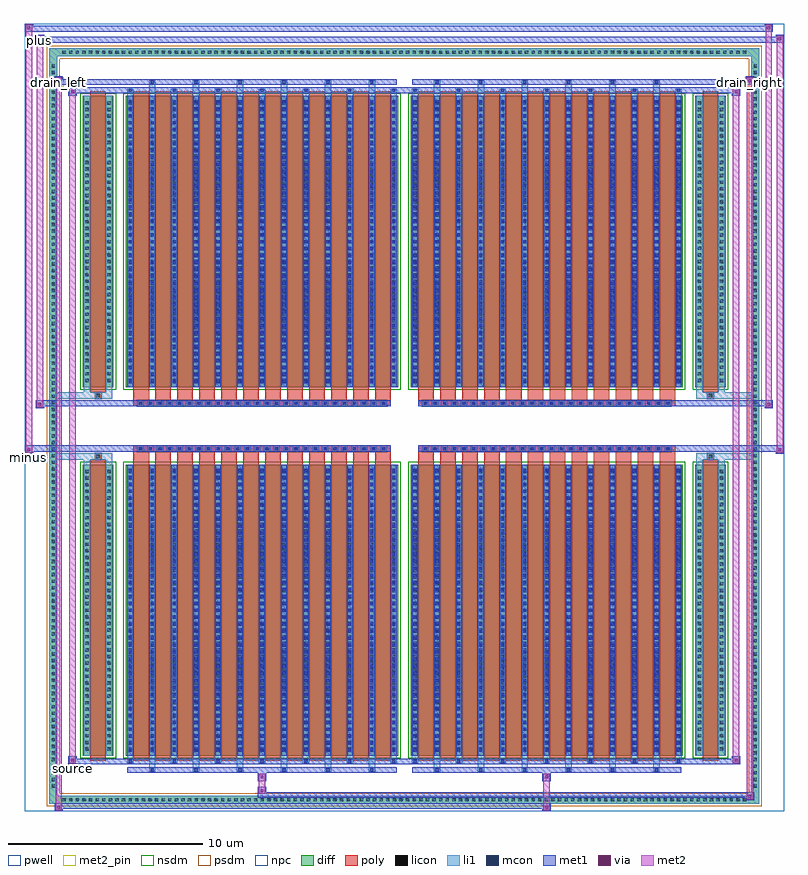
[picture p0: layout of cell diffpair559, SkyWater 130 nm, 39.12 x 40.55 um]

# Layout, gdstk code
import gdstk
lib = gdstk.Library(unit=1e-6, precision=5e-09)
def R(c, l, rs):  # rectangles x0, y0, x1, y1
    for r in rs: c.add(gdstk.rectangle(r[:2], r[2:], *l))
def A(c, l, x, y, w, h, nx, ny, dx, dy):  # array of equal rectangles
    R(c, l, [(x+i*dx, y+j*dy, x+i*dx+w, y+j*dy+h) for i in range(nx) for j in range(ny)])
def P(c, l, *ps):  # polygons
    for p in ps: c.add(gdstk.Polygon(p, *l))
pwell = (64, 44)
diff = (65, 20)
poly = (66, 20)
licon = (66, 44)
li1 = (67, 20)
mcon = (67, 44)
met1 = (68, 20)
via = (68, 44)
met2_pin = (69, 16)
met2 = (69, 20)
nsdm = (93, 44)
psdm = (94, 20)
npc = (95, 20)

diffpair559 = lib.new_cell('diffpair559')
R(diffpair559, pwell, [(-19.54,-19.84,19.54,20.71), (-16.86,-18.03,-0.01,-0.805), (0.01,-18.03,16.86,-0.805), (-16.86,0.805,-0.01,18.03), (0.01,0.805,16.86,18.03)])
A(diffpair559, diff, -17.715, -19.44, 0.41, 0.41, 104, 2, 0.34, 38.47)
A(diffpair559, diff, -18.27, -18.735, 0.41, 0.41, 1, 110, 0, 0.34)
A(diffpair559, diff, 17.86, -18.735, 0.41, 0.41, 1, 110, 0, 0.34)
R(diffpair559, diff, [(-17.715,-19.44,17.715,-19.03), (-18.27,-18.735,-17.86,18.735), (17.86,-18.735,18.27,18.735), (-16.55,-16.985,-14.97,-1.985), (-14.33,-16.985,-0.32,-1.985), (0.32,-16.985,14.33,-1.985), (14.97,-16.985,16.55,-1.985), (-16.55,1.985,-14.97,16.985), (-14.33,1.985,-0.32,16.985), (0.32,1.985,14.33,16.985), (14.97,1.985,16.55,16.985), (-17.715,19.03,17.715,19.44)])
P(diffpair559, diff, [(18.27,19.44),(-18.27,19.44),(-18.27,-19.03),(-17.86,-19.03),(-17.86,19.03),(17.86,19.03),(17.86,-19.03),(-17.86,-19.03),(-18.27,-19.03),(-18.27,-19.44),(18.27,-19.44)])
A(diffpair559, poly, -13.94, -17.235, 0.8, 15.5, 12, 2, 1.13, 18.97)
A(diffpair559, poly, 0.71, -17.235, 0.8, 15.5, 12, 2, 1.13, 18.97)
A(diffpair559, poly, -13.94, -1.735, 0.8, 0.4, 12, 2, 1.13, 3.07)
A(diffpair559, poly, 0.71, -1.735, 0.8, 0.4, 12, 2, 1.13, 3.07)
A(diffpair559, poly, -13.74, -1.335, 0.33, 0.33, 26, 2, 0.5, 2.34)
A(diffpair559, poly, 0.91, -1.335, 0.33, 0.33, 26, 2, 0.5, 2.34)
R(diffpair559, poly, [(-16.16,-17.235,-15.36,-1.735), (15.36,-17.235,16.16,-1.735), (-15.925,-1.735,-15.595,-1.405), (-15.925,-1.735,-15.595,-1.405), (15.595,-1.735,15.925,-1.405), (15.595,-1.735,15.925,-1.405), (-13.94,-1.335,-0.71,-1.005), (0.71,-1.335,13.94,-1.005), (-13.94,1.005,-0.71,1.335), (0.71,1.005,13.94,1.335), (-15.925,1.405,-15.595,1.735), (-15.925,1.405,-15.595,1.735), (15.595,1.405,15.925,1.735), (15.595,1.405,15.925,1.735), (-16.16,1.735,-15.36,17.235), (15.36,1.735,16.16,17.235)])
A(diffpair559, licon, -17.595, -19.32, 0.17, 0.17, 104, 2, 0.34, 38.47)
A(diffpair559, licon, -18.15, -18.615, 0.17, 0.17, 1, 110, 0, 0.34)
A(diffpair559, licon, 17.98, -18.615, 0.17, 0.17, 1, 110, 0, 0.34)
A(diffpair559, licon, -16.41, -16.71, 0.17, 0.17, 1, 43, 0, 0.34)
A(diffpair559, licon, -15.28, -16.71, 0.17, 0.17, 1, 43, 0, 0.34)
A(diffpair559, licon, -14.19, -16.71, 0.17, 0.17, 13, 43, 1.13, 0.34)
A(diffpair559, licon, 0.46, -16.71, 0.17, 0.17, 13, 43, 1.13, 0.34)
A(diffpair559, licon, 15.11, -16.71, 0.17, 0.17, 1, 43, 0, 0.34)
A(diffpair559, licon, 16.24, -16.71, 0.17, 0.17, 1, 43, 0, 0.34)
A(diffpair559, licon, -13.66, -1.255, 0.17, 0.17, 26, 2, 0.5, 2.34)
A(diffpair559, licon, 0.99, -1.255, 0.17, 0.17, 26, 2, 0.5, 2.34)
A(diffpair559, licon, -16.41, 2.26, 0.17, 0.17, 1, 43, 0, 0.34)
A(diffpair559, licon, -15.28, 2.26, 0.17, 0.17, 1, 43, 0, 0.34)
A(diffpair559, licon, -14.19, 2.26, 0.17, 0.17, 13, 43, 1.13, 0.34)
A(diffpair559, licon, 0.46, 2.26, 0.17, 0.17, 13, 43, 1.13, 0.34)
A(diffpair559, licon, 15.11, 2.26, 0.17, 0.17, 1, 43, 0, 0.34)
A(diffpair559, licon, 16.24, 2.26, 0.17, 0.17, 1, 43, 0, 0.34)
R(diffpair559, licon, [(-15.845,-1.655,-15.675,-1.485), (15.675,-1.655,15.845,-1.485), (-15.845,1.485,-15.675,1.655), (15.675,1.485,15.845,1.655)])
A(diffpair559, li1, -17.675, -19.4, 0.33, 0.33, 104, 2, 0.34, 38.47)
A(diffpair559, li1, -18.23, -18.695, 0.33, 0.33, 1, 110, 0, 0.34)
A(diffpair559, li1, 17.9, -18.695, 0.33, 0.33, 1, 110, 0, 0.34)
A(diffpair559, li1, -13.14, -17.79, 0.33, 0.805, 6, 2, 2.26, 34.775)
A(diffpair559, li1, -13.06, -17.79, 0.17, 0.17, 6, 2, 2.26, 35.41)
A(diffpair559, li1, 1.51, -17.79, 0.33, 0.805, 6, 2, 2.26, 34.775)
A(diffpair559, li1, 1.59, -17.79, 0.17, 0.17, 6, 2, 2.26, 35.41)
A(diffpair559, li1, -14.27, -17.36, 0.33, 0.375, 7, 2, 2.26, 34.345)
A(diffpair559, li1, -14.19, -17.36, 0.17, 0.17, 7, 2, 2.26, 34.55)
A(diffpair559, li1, 0.38, -17.36, 0.33, 0.375, 7, 2, 2.26, 34.345)
A(diffpair559, li1, 0.46, -17.36, 0.17, 0.17, 7, 2, 2.26, 34.55)
A(diffpair559, li1, -14.27, -16.985, 0.33, 15, 13, 2, 1.13, 18.97)
A(diffpair559, li1, 0.38, -16.985, 0.33, 15, 13, 2, 1.13, 18.97)
A(diffpair559, li1, -16.49, -16.79, 0.33, 0.33, 1, 43, 0, 0.34)
A(diffpair559, li1, -15.36, -16.79, 0.33, 0.33, 1, 43, 0, 0.34)
A(diffpair559, li1, -14.27, -16.79, 0.33, 0.33, 13, 43, 1.13, 0.34)
A(diffpair559, li1, 0.38, -16.79, 0.33, 0.33, 13, 43, 1.13, 0.34)
A(diffpair559, li1, 15.03, -16.79, 0.33, 0.33, 1, 43, 0, 0.34)
A(diffpair559, li1, 16.16, -16.79, 0.33, 0.33, 1, 43, 0, 0.34)
A(diffpair559, li1, -14.19, -16.77, 0.17, 0.17, 13, 41, 1.13, 0.36)
A(diffpair559, li1, -14.19, -16.77, 0.17, 14.57, 13, 2, 1.13, 18.97)
A(diffpair559, li1, 0.46, -16.77, 0.17, 0.17, 13, 41, 1.13, 0.36)
A(diffpair559, li1, 0.46, -16.77, 0.17, 14.57, 13, 2, 1.13, 18.97)
A(diffpair559, li1, -13.74, -1.335, 0.33, 0.33, 26, 2, 0.5, 2.34)
A(diffpair559, li1, 0.91, -1.335, 0.33, 0.33, 26, 2, 0.5, 2.34)
A(diffpair559, li1, -16.49, 2.18, 0.33, 0.33, 1, 43, 0, 0.34)
A(diffpair559, li1, -15.36, 2.18, 0.33, 0.33, 1, 43, 0, 0.34)
A(diffpair559, li1, -14.27, 2.18, 0.33, 0.33, 13, 43, 1.13, 0.34)
A(diffpair559, li1, 0.38, 2.18, 0.33, 0.33, 13, 43, 1.13, 0.34)
A(diffpair559, li1, 15.03, 2.18, 0.33, 0.33, 1, 43, 0, 0.34)
A(diffpair559, li1, 16.16, 2.18, 0.33, 0.33, 1, 43, 0, 0.34)
A(diffpair559, li1, -14.19, 2.2, 0.17, 0.17, 13, 41, 1.13, 0.36)
A(diffpair559, li1, 0.46, 2.2, 0.17, 0.17, 13, 41, 1.13, 0.36)
R(diffpair559, li1, [(-18.27,-19.44,-17.86,-19.03), (-18.27,-19.44,-17.86,-19.03), (-17.86,-19.44,17.86,-19.03), (17.86,-19.44,18.27,-19.03), (17.86,-19.44,18.27,-19.03), (-18.27,-19.03,-17.86,19.03), (17.86,-19.03,18.27,19.03), (-16.49,-16.985,-16.16,-1.985), (-15.36,-16.985,-15.03,-1.985), (15.03,-16.985,15.36,-1.985), (16.16,-16.985,16.49,-1.985), (-16.49,-1.985,-16.16,-1.405), (-15.36,-1.985,-15.03,-1.405), (15.03,-1.985,15.36,-1.405), (16.16,-1.985,16.49,-1.405), (-18.27,-1.735,-15.925,-1.405), (-16.49,-1.735,-15.925,-1.405), (-15.925,-1.735,-15.595,-1.405), (-15.595,-1.735,-15.03,-1.405), (15.03,-1.735,15.595,-1.405), (15.595,-1.735,15.925,-1.405), (15.595,-1.735,18.27,-1.405), (15.925,-1.735,16.49,-1.405), (-18.27,1.405,-15.925,1.735), (-16.49,1.405,-15.925,1.735), (-16.49,1.405,-16.16,1.985), (-15.925,1.405,-15.595,1.735), (-15.595,1.405,-15.03,1.735), (-15.36,1.405,-15.03,1.985), (15.03,1.405,15.595,1.735), (15.03,1.405,15.36,1.985), (15.595,1.405,15.925,1.735), (15.595,1.405,18.27,1.735), (15.925,1.405,16.49,1.735), (16.16,1.405,16.49,1.985), (-16.49,1.985,-16.16,16.985), (-15.36,1.985,-15.03,16.985), (15.03,1.985,15.36,16.985), (16.16,1.985,16.49,16.985), (-18.27,19.03,-17.86,19.44), (-18.27,19.03,-17.86,19.44), (-17.86,19.03,17.86,19.44), (17.86,19.03,18.27,19.44), (17.86,19.03,18.27,19.44)])
A(diffpair559, mcon, -13.06, -17.79, 0.17, 0.17, 6, 2, 2.26, 35.41)
A(diffpair559, mcon, 1.59, -17.79, 0.17, 0.17, 6, 2, 2.26, 35.41)
A(diffpair559, mcon, -14.19, -17.36, 0.17, 0.17, 7, 2, 2.26, 34.55)
A(diffpair559, mcon, 0.46, -17.36, 0.17, 0.17, 7, 2, 2.26, 34.55)
A(diffpair559, mcon, -14.19, -16.77, 0.17, 0.17, 13, 41, 1.13, 0.36)
A(diffpair559, mcon, 0.46, -16.77, 0.17, 0.17, 13, 41, 1.13, 0.36)
A(diffpair559, mcon, -13.66, -1.255, 0.17, 0.17, 26, 2, 0.5, 2.34)
A(diffpair559, mcon, 0.99, -1.255, 0.17, 0.17, 26, 2, 0.5, 2.34)
A(diffpair559, mcon, -14.19, 2.2, 0.17, 0.17, 13, 41, 1.13, 0.36)
A(diffpair559, mcon, 0.46, 2.2, 0.17, 0.17, 13, 41, 1.13, 0.36)
A(diffpair559, met1, -13.12, -17.85, 0.29, 0.29, 6, 2, 2.26, 35.41)
A(diffpair559, met1, 1.53, -17.85, 0.29, 0.29, 6, 2, 2.26, 35.41)
A(diffpair559, met1, -14.25, -17.42, 0.29, 0.29, 7, 2, 2.26, 34.55)
A(diffpair559, met1, 0.4, -17.42, 0.29, 0.29, 7, 2, 2.26, 34.55)
A(diffpair559, met1, -14.25, -16.985, 0.29, 15, 13, 2, 1.13, 18.97)
A(diffpair559, met1, 0.4, -16.985, 0.29, 15, 13, 2, 1.13, 18.97)
A(diffpair559, met1, -14.25, -16.83, 0.29, 0.29, 13, 41, 1.13, 0.36)
A(diffpair559, met1, 0.4, -16.83, 0.29, 0.29, 13, 41, 1.13, 0.36)
A(diffpair559, met1, -13.72, -1.315, 0.29, 0.29, 26, 2, 0.5, 2.34)
A(diffpair559, met1, 0.93, -1.315, 0.29, 0.29, 26, 2, 0.5, 2.34)
A(diffpair559, met1, -14.25, 2.14, 0.29, 0.29, 13, 41, 1.13, 0.36)
A(diffpair559, met1, 0.4, 2.14, 0.29, 0.29, 13, 41, 1.13, 0.36)
R(diffpair559, met1, [(-18,-19.84,-17.57,-19.41), (7.11,-19.84,7.54,-19.41), (-18,-19.7,7.54,-19.41), (17.57,-19.27,18,-18.84), (-7.54,-19.13,18,-18.84), (-7.54,-18.99,-7.11,-18.56), (-7.54,-18.28,-7.11,-17.85), (7.11,-18.28,7.54,-17.85), (-14.25,-17.85,-0.4,-17.56), (0.4,-17.85,14.25,-17.56), (-17.29,-17.42,-16.86,-16.99), (-17.29,-17.42,-14.25,-17.13), (-14.25,-17.42,-0.4,-17.13), (-0.4,-17.42,0.4,-17.13), (0.4,-17.42,14.25,-17.13), (14.25,-17.42,17.29,-17.13), (16.86,-17.42,17.29,-16.99), (-19.54,-1.435,-19.11,-1.005), (19.11,-1.435,19.54,-1.005), (-19.54,-1.335,-0.71,-1.005), (-13.94,-1.335,-0.71,-1.005), (0.71,-1.335,13.94,-1.005), (0.71,-1.335,19.54,-1.005), (-18.97,0.905,-18.54,1.335), (18.54,0.905,18.97,1.335), (-18.97,1.005,-13.94,1.335), (-13.94,1.005,-0.71,1.335), (0.71,1.005,13.94,1.335), (13.94,1.005,18.97,1.335), (-17.29,16.99,-16.86,17.42), (16.86,16.99,17.29,17.42), (-17.29,17.13,-14.25,17.42), (-14.25,17.13,-0.4,17.42), (-0.4,17.13,0.4,17.42), (0.4,17.13,14.25,17.42), (14.25,17.13,17.29,17.42), (-18,17.56,-17.57,17.99), (-18,17.56,-14.25,17.85), (-14.25,17.56,-0.4,17.85), (0.4,17.56,14.25,17.85), (14.25,17.56,18,17.85), (17.57,17.56,18,17.99), (-18.97,19.71,-18.54,20.14), (-18.97,19.71,-16.86,20.04), (-16.86,19.71,16.86,20.04), (16.86,19.71,19.54,20.04), (19.11,19.71,19.54,20.14), (-19.54,20.28,-19.11,20.71), (-19.54,20.28,-16.86,20.61), (-16.86,20.28,16.86,20.61), (16.86,20.28,18.97,20.61), (18.54,20.28,18.97,20.71)])
R(diffpair559, via, [(-17.86,-19.7,-17.71,-19.55), (7.25,-19.7,7.4,-19.55), (17.71,-19.13,17.86,-18.98), (-7.4,-18.85,-7.25,-18.7), (-7.4,-18.14,-7.25,-17.99), (7.25,-18.14,7.4,-17.99), (-17.15,-17.28,-17,-17.13), (17,-17.28,17.15,-17.13), (-19.4,-1.295,-19.25,-1.145), (19.25,-1.295,19.4,-1.145), (-18.83,1.045,-18.68,1.195), (18.68,1.045,18.83,1.195), (-17.15,17.13,-17,17.28), (17,17.13,17.15,17.28), (-17.86,17.7,-17.71,17.85), (17.71,17.7,17.86,17.85), (-18.83,19.85,-18.68,20), (19.25,19.85,19.4,20), (-19.4,20.42,-19.25,20.57), (18.68,20.42,18.83,20.57)])
R(diffpair559, met2_pin, [(-17.325,-17.87,-16.825,-17.37), (-19.575,-1.885,-19.075,-1.385), (-18.035,17.44,-17.535,17.94), (17.535,17.44,18.035,17.94), (-19.005,19.59,-18.505,20.09)])
R(diffpair559, met2, [(-17.95,-19.79,-17.62,-19.46), (-17.95,-19.79,-17.62,17.94), (7.16,-19.79,7.49,-19.46), (7.16,-19.46,7.49,-18.23), (17.62,-19.22,17.95,-18.89), (17.62,-19.22,17.95,17.94), (-7.49,-18.94,-7.16,-18.61), (-7.49,-18.61,-7.16,-18.23), (-7.49,-18.23,-7.16,-17.9), (7.16,-18.23,7.49,-17.9), (-17.24,-17.37,-16.91,-17.04), (-17.24,-17.37,-16.91,17.37), (16.91,-17.37,17.24,-17.04), (16.91,-17.37,17.24,17.37), (-19.49,-1.385,-19.16,-1.055), (-19.49,-1.385,-19.16,20.66), (19.16,-1.385,19.49,-1.055), (19.16,-1.385,19.49,20.09), (-18.92,0.955,-18.59,1.285), (-18.92,0.955,-18.59,20.09), (18.59,0.955,18.92,1.285), (18.59,0.955,18.92,20.66), (-17.24,17.04,-16.91,17.37), (16.91,17.04,17.24,17.37), (-17.95,17.61,-17.62,17.94), (17.62,17.61,17.95,17.94), (-18.92,19.76,-18.59,20.09), (19.16,19.76,19.49,20.09), (-19.49,20.33,-19.16,20.66), (18.59,20.33,18.92,20.66)])
P(diffpair559, met2, [(19.49,-1.385),(19.49,-1.385),(19.49,-1.055),(19.49,-1.055)],
  [(19.49,19.76),(19.49,19.76),(19.49,20.09),(19.49,20.09)],
  [(-19.16,-1.385),(-19.16,-1.385),(-19.16,-1.055),(-19.16,-1.055)],
  [(-19.16,20.33),(-19.16,20.33),(-19.16,20.66),(-19.16,20.66)],
  [(18.92,0.955),(18.92,0.955),(18.92,1.285),(18.92,1.285)],
  [(18.92,20.33),(18.92,20.33),(18.92,20.66),(18.92,20.66)],
  [(-18.59,0.955),(-18.59,0.955),(-18.59,1.285),(-18.59,1.285)],
  [(-18.59,19.76),(-18.59,19.76),(-18.59,20.09),(-18.59,20.09)],
  [(-17.62,-19.79),(-17.62,-19.79),(-17.62,-19.46),(-17.62,-19.46)],
  [(-17.62,17.61),(-17.62,17.61),(-17.62,17.94),(-17.62,17.94)],
  [(17.95,-19.22),(17.95,-19.22),(17.95,-18.89),(17.95,-18.89)],
  [(17.95,17.61),(17.95,17.61),(17.95,17.94),(17.95,17.94)],
  [(-16.91,-17.37),(-16.91,-17.37),(-16.91,-17.04),(-16.91,-17.04)],
  [(-16.91,17.04),(-16.91,17.04),(-16.91,17.37),(-16.91,17.37)],
  [(17.24,-17.37),(17.24,-17.37),(17.24,-17.04),(17.24,-17.04)],
  [(17.24,17.04),(17.24,17.04),(17.24,17.37),(17.24,17.37)])
R(diffpair559, nsdm, [(-16.68,-17.115,-14.84,-1.855), (-14.46,-17.115,-0.19,-1.855), (0.19,-17.115,14.46,-1.855), (14.84,-17.115,16.68,-1.855), (-16.68,1.855,-14.84,17.115), (-14.46,1.855,-0.19,17.115), (0.19,1.855,14.46,17.115), (14.84,1.855,16.68,17.115)])
P(diffpair559, psdm, [(18.4,19.57),(-18.4,19.57),(-18.4,-18.9),(-17.73,-18.9),(-17.73,18.9),(17.73,18.9),(17.73,-18.9),(-17.73,-18.9),(-18.4,-18.9),(-18.4,-19.57),(18.4,-19.57)])
A(diffpair559, npc, -13.76, -1.355, 0.37, 0.37, 26, 2, 0.5, 2.34)
A(diffpair559, npc, 0.89, -1.355, 0.37, 0.37, 26, 2, 0.5, 2.34)
R(diffpair559, npc, [(-15.945,-1.755,-15.575,-1.385), (15.575,-1.755,15.945,-1.385), (-13.76,-1.355,-12.89,-0.985), (-13.76,-1.355,-12.89,-0.985), (-13.26,-1.355,-12.39,-0.985), (-13.26,-1.355,-12.39,-0.985), (-12.76,-1.355,-11.89,-0.985), (-12.76,-1.355,-11.89,-0.985), (-12.26,-1.355,-11.39,-0.985), (-12.26,-1.355,-11.39,-0.985), (-11.76,-1.355,-10.89,-0.985), (-11.76,-1.355,-10.89,-0.985), (-11.26,-1.355,-10.39,-0.985), (-11.26,-1.355,-10.39,-0.985), (-10.76,-1.355,-9.89,-0.985), (-10.76,-1.355,-9.89,-0.985), (-10.26,-1.355,-9.39,-0.985), (-10.26,-1.355,-9.39,-0.985), (-9.76,-1.355,-8.89,-0.985), (-9.76,-1.355,-8.89,-0.985), (-9.26,-1.355,-8.39,-0.985), (-9.26,-1.355,-8.39,-0.985), (-8.76,-1.355,-7.89,-0.985), (-8.76,-1.355,-7.89,-0.985), (-8.26,-1.355,-7.39,-0.985), (-8.26,-1.355,-7.39,-0.985), (-7.76,-1.355,-6.89,-0.985), (-7.76,-1.355,-6.89,-0.985), (-7.26,-1.355,-6.39,-0.985), (-7.26,-1.355,-6.39,-0.985), (-6.76,-1.355,-5.89,-0.985), (-6.76,-1.355,-5.89,-0.985), (-6.26,-1.355,-5.39,-0.985), (-6.26,-1.355,-5.39,-0.985), (-5.76,-1.355,-4.89,-0.985), (-5.76,-1.355,-4.89,-0.985), (-5.26,-1.355,-4.39,-0.985), (-5.26,-1.355,-4.39,-0.985), (-4.76,-1.355,-3.89,-0.985), (-4.76,-1.355,-3.89,-0.985), (-4.26,-1.355,-3.39,-0.985), (-4.26,-1.355,-3.39,-0.985), (-3.76,-1.355,-2.89,-0.985), (-3.76,-1.355,-2.89,-0.985), (-3.26,-1.355,-2.39,-0.985), (-3.26,-1.355,-2.39,-0.985), (-2.76,-1.355,-1.89,-0.985), (-2.76,-1.355,-1.89,-0.985), (-2.26,-1.355,-1.39,-0.985), (-2.26,-1.355,-1.39,-0.985), (-1.76,-1.355,-0.89,-0.985), (-1.76,-1.355,-0.89,-0.985), (0.89,-1.355,1.76,-0.985), (0.89,-1.355,1.76,-0.985), (1.39,-1.355,2.26,-0.985), (1.39,-1.355,2.26,-0.985), (1.89,-1.355,2.76,-0.985), (1.89,-1.355,2.76,-0.985), (2.39,-1.355,3.26,-0.985), (2.39,-1.355,3.26,-0.985), (2.89,-1.355,3.76,-0.985), (2.89,-1.355,3.76,-0.985), (3.39,-1.355,4.26,-0.985), (3.39,-1.355,4.26,-0.985), (3.89,-1.355,4.76,-0.985), (3.89,-1.355,4.76,-0.985), (4.39,-1.355,5.26,-0.985), (4.39,-1.355,5.26,-0.985), (4.89,-1.355,5.76,-0.985), (4.89,-1.355,5.76,-0.985), (5.39,-1.355,6.26,-0.985), (5.39,-1.355,6.26,-0.985), (5.89,-1.355,6.76,-0.985), (5.89,-1.355,6.76,-0.985), (6.39,-1.355,7.26,-0.985), (6.39,-1.355,7.26,-0.985), (6.89,-1.355,7.76,-0.985), (6.89,-1.355,7.76,-0.985), (7.39,-1.355,8.26,-0.985), (7.39,-1.355,8.26,-0.985), (7.89,-1.355,8.76,-0.985), (7.89,-1.355,8.76,-0.985), (8.39,-1.355,9.26,-0.985), (8.39,-1.355,9.26,-0.985), (8.89,-1.355,9.76,-0.985), (8.89,-1.355,9.76,-0.985), (9.39,-1.355,10.26,-0.985), (9.39,-1.355,10.26,-0.985), (9.89,-1.355,10.76,-0.985), (9.89,-1.355,10.76,-0.985), (10.39,-1.355,11.26,-0.985), (10.39,-1.355,11.26,-0.985), (10.89,-1.355,11.76,-0.985), (10.89,-1.355,11.76,-0.985), (11.39,-1.355,12.26,-0.985), (11.39,-1.355,12.26,-0.985), (11.89,-1.355,12.76,-0.985), (11.89,-1.355,12.76,-0.985), (12.39,-1.355,13.26,-0.985), (12.39,-1.355,13.26,-0.985), (12.89,-1.355,13.76,-0.985), (12.89,-1.355,13.76,-0.985), (-13.76,0.985,-12.89,1.355), (-13.76,0.985,-12.89,1.355), (-13.26,0.985,-12.39,1.355), (-13.26,0.985,-12.39,1.355), (-12.76,0.985,-11.89,1.355), (-12.76,0.985,-11.89,1.355), (-12.26,0.985,-11.39,1.355), (-12.26,0.985,-11.39,1.355), (-11.76,0.985,-10.89,1.355), (-11.76,0.985,-10.89,1.355), (-11.26,0.985,-10.39,1.355), (-11.26,0.985,-10.39,1.355), (-10.76,0.985,-9.89,1.355), (-10.76,0.985,-9.89,1.355), (-10.26,0.985,-9.39,1.355), (-10.26,0.985,-9.39,1.355), (-9.76,0.985,-8.89,1.355), (-9.76,0.985,-8.89,1.355), (-9.26,0.985,-8.39,1.355), (-9.26,0.985,-8.39,1.355), (-8.76,0.985,-7.89,1.355), (-8.76,0.985,-7.89,1.355), (-8.26,0.985,-7.39,1.355), (-8.26,0.985,-7.39,1.355), (-7.76,0.985,-6.89,1.355), (-7.76,0.985,-6.89,1.355), (-7.26,0.985,-6.39,1.355), (-7.26,0.985,-6.39,1.355), (-6.76,0.985,-5.89,1.355), (-6.76,0.985,-5.89,1.355), (-6.26,0.985,-5.39,1.355), (-6.26,0.985,-5.39,1.355), (-5.76,0.985,-4.89,1.355), (-5.76,0.985,-4.89,1.355), (-5.26,0.985,-4.39,1.355), (-5.26,0.985,-4.39,1.355), (-4.76,0.985,-3.89,1.355), (-4.76,0.985,-3.89,1.355), (-4.26,0.985,-3.39,1.355), (-4.26,0.985,-3.39,1.355), (-3.76,0.985,-2.89,1.355), (-3.76,0.985,-2.89,1.355), (-3.26,0.985,-2.39,1.355), (-3.26,0.985,-2.39,1.355), (-2.76,0.985,-1.89,1.355), (-2.76,0.985,-1.89,1.355), (-2.26,0.985,-1.39,1.355), (-2.26,0.985,-1.39,1.355), (-1.76,0.985,-0.89,1.355), (-1.76,0.985,-0.89,1.355), (0.89,0.985,1.76,1.355), (0.89,0.985,1.76,1.355), (1.39,0.985,2.26,1.355), (1.39,0.985,2.26,1.355), (1.89,0.985,2.76,1.355), (1.89,0.985,2.76,1.355), (2.39,0.985,3.26,1.355), (2.39,0.985,3.26,1.355), (2.89,0.985,3.76,1.355), (2.89,0.985,3.76,1.355), (3.39,0.985,4.26,1.355), (3.39,0.985,4.26,1.355), (3.89,0.985,4.76,1.355), (3.89,0.985,4.76,1.355), (4.39,0.985,5.26,1.355), (4.39,0.985,5.26,1.355), (4.89,0.985,5.76,1.355), (4.89,0.985,5.76,1.355), (5.39,0.985,6.26,1.355), (5.39,0.985,6.26,1.355), (5.89,0.985,6.76,1.355), (5.89,0.985,6.76,1.355), (6.39,0.985,7.26,1.355), (6.39,0.985,7.26,1.355), (6.89,0.985,7.76,1.355), (6.89,0.985,7.76,1.355), (7.39,0.985,8.26,1.355), (7.39,0.985,8.26,1.355), (7.89,0.985,8.76,1.355), (7.89,0.985,8.76,1.355), (8.39,0.985,9.26,1.355), (8.39,0.985,9.26,1.355), (8.89,0.985,9.76,1.355), (8.89,0.985,9.76,1.355), (9.39,0.985,10.26,1.355), (9.39,0.985,10.26,1.355), (9.89,0.985,10.76,1.355), (9.89,0.985,10.76,1.355), (10.39,0.985,11.26,1.355), (10.39,0.985,11.26,1.355), (10.89,0.985,11.76,1.355), (10.89,0.985,11.76,1.355), (11.39,0.985,12.26,1.355), (11.39,0.985,12.26,1.355), (11.89,0.985,12.76,1.355), (11.89,0.985,12.76,1.355), (12.39,0.985,13.26,1.355), (12.39,0.985,13.26,1.355), (12.89,0.985,13.76,1.355), (12.89,0.985,13.76,1.355), (-15.945,1.385,-15.575,1.755), (15.575,1.385,15.945,1.755)])
diffpair559.add(gdstk.Label('minus', (-19.325,-1.635), layer=69, texttype=5))
diffpair559.add(gdstk.Label('drain_right', (17.785,17.69), layer=69, texttype=5))
diffpair559.add(gdstk.Label('drain_left', (-17.785,17.69), layer=69, texttype=5))
diffpair559.add(gdstk.Label('source', (-17.075,-17.62), layer=69, texttype=5))
diffpair559.add(gdstk.Label('plus', (-18.755,19.84), layer=69, texttype=5))

lib.write_gds('diffpair559.gds')
